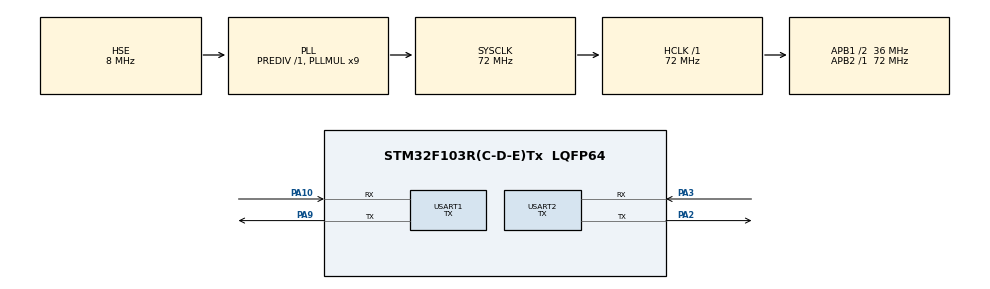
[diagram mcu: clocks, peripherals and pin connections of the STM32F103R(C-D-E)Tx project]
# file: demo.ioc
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Mcu.Family=STM32F1
Mcu.Name=STM32F103R(C-D-E)Tx
Mcu.Package=LQFP64
NVIC.PriorityGroup=NVIC_PRIORITYGROUP_4
NVIC.USART1_IRQn=true\:0\:0\:false\:false\:true\:true\:true\:true
PA10.Mode=Asynchronous
PA10.Signal=USART1_RX
PA13.Mode=Serial_Wire
PA13.Signal=SYS_JTMS-SWDIO
PA14.Mode=Serial_Wire
PA14.Signal=SYS_JTCK-SWCLK
PA2.Mode=Asynchronous
PA2.Signal=USART2_TX
PA3.Mode=Asynchronous
PA3.Signal=USART2_RX
PA9.Mode=Asynchronous
PA9.Signal=USART1_TX
PD0-OSC_IN.Mode=HSE-External-Oscillator
PD0-OSC_IN.Signal=RCC_OSC_IN
PD1-OSC_OUT.Mode=HSE-External-Oscillator
PD1-OSC_OUT.Signal=RCC_OSC_OUT
ProjectManager.HeapSize=0x600
ProjectManager.StackSize=0x600
ProjectManager.TargetToolchain=MDK-ARM V5
RCC.AHBFreq_Value=72000000
RCC.APB1CLKDivider=RCC_HCLK_DIV2
RCC.APB1Freq_Value=36000000
RCC.APB1TimFreq_Value=72000000
RCC.APB2Freq_Value=72000000
RCC.APB2TimFreq_Value=72000000
RCC.HCLKFreq_Value=72000000
RCC.PLLMUL=RCC_PLL_MUL9
RCC.PLLSourceVirtual=RCC_PLLSOURCE_HSE
RCC.SYSCLKFreq_VALUE=72000000
RCC.SYSCLKSource=RCC_SYSCLKSOURCE_PLLCLK
RCC.USBFreq_Value=72000000
USART1.Mode=MODE_TX
USART1.VirtualMode=VM_ASYNC
USART2.Mode=MODE_TX
USART2.VirtualMode=VM_ASYNC
board=custom

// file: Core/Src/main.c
/* USER CODE BEGIN Header */
/**
 ******************************************************************************
 * @file           : main.c
 * @brief          : Main program body
 ******************************************************************************
 * @attention
 *
 * <h2><center>&copy; Copyright (c) 2022 STMicroelectronics.
 * All rights reserved.</center></h2>
 *
 * This software component is licensed by ST under BSD 3-Clause license,
 * the "License"; You may not use this file except in compliance with the
 * License. You may obtain a copy of the License at:
 *                        opensource.org/licenses/BSD-3-Clause
 *
 ******************************************************************************
 */
/* USER CODE END Header */

#include "main.h"
#include "gpio.h"
#include "usart.h"

/* USER CODE BEGIN Includes */
#include "arm_math.h"
/* USER CODE END Includes */

void SystemClock_Config(void);

/* USER CODE BEGIN 0 */

arm_rfft_instance_f32        S;       // 实序列傅里叶变换结构体
arm_cfft_radix4_instance_f32 S_CFFT;  // 傅里叶变换结果复序列结构体

float32_t pSrc[128] = {.0f};  // 输入
float32_t pDst[256] = {.0f};  // 输出
float32_t out[128]  = {.0f};  // 结果

void dsp_test(void) {
    uint8_t i = 0, j = 0;

    printf("src = \r\n");
    for (i = 0; i < 128; i++) {
        pSrc[i] =
            1.6f +                                     // 直流分量
            arm_sin_f32(100 * PI * i / 6400) +         // f = 50
            0.3f * arm_sin_f32(300 * PI * i / 6400) +  // f = 150
            0.5f * arm_sin_f32(700 * PI * i / 6400);   // f = 350
        printf("%f\r\n", pSrc[i]);
    }

    // sin(2πft)

    arm_rfft_init_f32(&S, &S_CFFT, 128, 0, 1);  // 初始化

    arm_rfft_f32(&S, pSrc, pDst);  // 傅里叶变换

    for (j = 0; j < 127; ++j) {
        arm_sqrt_f32(pDst[2 * j] * pDst[2 * j] + pDst[2 * j + 1] * pDst[2 * j + 1], &out[j]);  // 计算幅值
        if (j == 0) {
            out[j] /= 128;  // 直流分量
        } else {
            out[j] /= 64;  // 交流分量
        }
    }

    printf("dst = \r\n");
    for (j = 0; j < 64; j++)
        printf("%f\r\n", out[j]);
}

/* USER CODE END 0 */

int main(void) {

    /* MCU Configuration--------------------------------------------------------*/

    /* Reset of all peripherals, Initializes the Flash interface and the Systick. */
    HAL_Init();

    /* Configure the system clock */
    SystemClock_Config();

    /* Initialize all configured peripherals */
    MX_GPIO_Init();
    MX_USART1_UART_Init();
    MX_USART2_UART_Init();
    /* USER CODE BEGIN 2 */
    printf("Strat\r\n");
    dsp_test();
    printf("End\r\n");
    /* USER CODE END 2 */

    /* Infinite loop */
    while (1) {

    }
}

void SystemClock_Config(void) {
    RCC_OscInitTypeDef RCC_OscInitStruct = {0};
    RCC_ClkInitTypeDef RCC_ClkInitStruct = {0};

    /** Initializes the CPU, AHB and APB busses clocks
     */
    RCC_OscInitStruct.OscillatorType = RCC_OSCILLATORTYPE_HSE;
    RCC_OscInitStruct.HSEState       = RCC_HSE_ON;
    RCC_OscInitStruct.HSEPredivValue = RCC_HSE_PREDIV_DIV1;
    RCC_OscInitStruct.HSIState       = RCC_HSI_ON;
    RCC_OscInitStruct.PLL.PLLState   = RCC_PLL_ON;
    RCC_OscInitStruct.PLL.PLLSource  = RCC_PLLSOURCE_HSE;
    RCC_OscInitStruct.PLL.PLLMUL     = RCC_PLL_MUL9;
    if (HAL_RCC_OscConfig(&RCC_OscInitStruct) != HAL_OK) {
        Error_Handler();
    }
    /** Initializes the CPU, AHB and APB busses clocks
     */
    RCC_ClkInitStruct.ClockType      = RCC_CLOCKTYPE_HCLK | RCC_CLOCKTYPE_SYSCLK | RCC_CLOCKTYPE_PCLK1 | RCC_CLOCKTYPE_PCLK2;
    RCC_ClkInitStruct.SYSCLKSource   = RCC_SYSCLKSOURCE_PLLCLK;
    RCC_ClkInitStruct.AHBCLKDivider  = RCC_SYSCLK_DIV1;
    RCC_ClkInitStruct.APB1CLKDivider = RCC_HCLK_DIV2;
    RCC_ClkInitStruct.APB2CLKDivider = RCC_HCLK_DIV1;

    if (HAL_RCC_ClockConfig(&RCC_ClkInitStruct, FLASH_LATENCY_2) != HAL_OK) {
        Error_Handler();
    }
}

void Error_Handler(void) {
}

/************************ (C) COPYRIGHT STMicroelectronics *****END OF FILE****/
